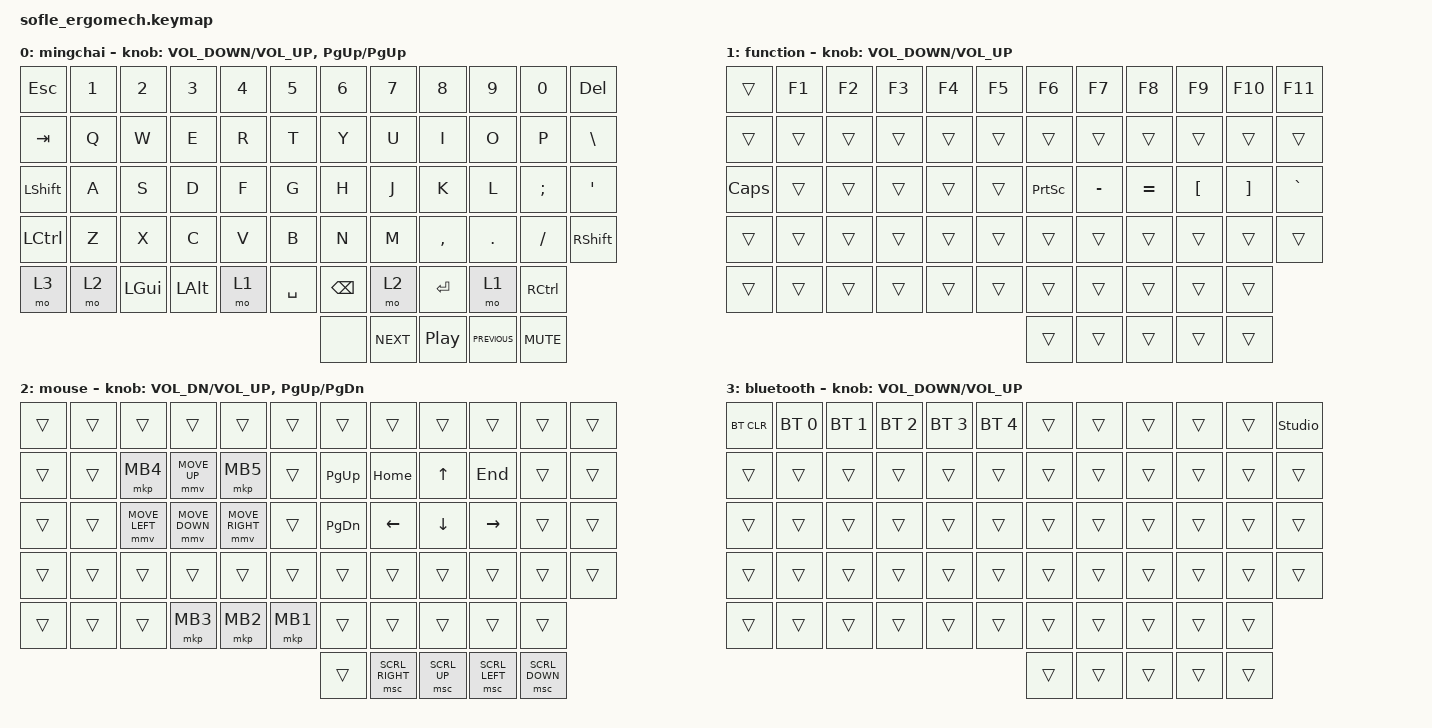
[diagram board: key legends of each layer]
/*
 * Copyright (c) 2020 The ZMK Contributors
 *
 * SPDX-License-Identifier: MIT
 */

#define ZMK_POINTING_DEFAULT_MOVE_VAL 2500  // default: 600
#define ZMK_POINTING_DEFAULT_SCRL_VAL 20    // default: 10

#include <behaviors.dtsi>
#include <dt-bindings/zmk/bt.h>
#include <dt-bindings/zmk/keys.h>
#include <dt-bindings/zmk/pointing.h>

#define BASE 0
#define LOWER 1
#define RAISE 2
#define ADJUST 3

/ {
    // Activate ADJUST layer by pressing raise and lower

    conditional_layers { compatible = "zmk,conditional-layers"; };

    keymap {
        compatible = "zmk,keymap";

        mingchai {
            // ------------------------------------------------------------------------------------------------------------
            // |   `   |  1  |  2  |  3   |  4   |  5   |                   |  6   |  7    |  8    |  9   |   0   |       |
            // |  ESC  |  Q  |  W  |  E   |  R   |  T   |                   |  Y   |  U    |  I    |  O   |   P   | BKSPC |
            // |  TAB  |  A  |  S  |  D   |  F   |  G   |                   |  H   |  J    |  K    |  L   |   ;   |   '   |
            // | SHIFT |  Z  |  X  |  C   |  V   |  B   |  MUTE  |  |       |  N   |  M    |  ,    |  .   |   /   | SHIFT |
            //               | GUI | ALT  | CTRL | LOWER|  ENTER |  | SPACE | RAISE| CTRL  | ALT   | GUI  |

            bindings = <
&kp ESCAPE        &kp N1  &kp N2        &kp N3        &kp N4  &kp N5     &kp N6         &kp N7      &kp N8            &kp N9          &kp N0         &kp DEL
&kp TAB           &kp Q   &kp W         &kp E         &kp R   &kp T      &kp Y          &kp U       &kp I             &kp O           &kp P          &kp BACKSLASH
&kp LEFT_SHIFT    &kp A   &kp S         &kp D         &kp F   &kp G      &kp H          &kp J       &kp K             &kp L           &kp SEMICOLON  &kp SINGLE_QUOTE
&kp LEFT_CONTROL  &kp Z   &kp X         &kp C         &kp V   &kp B      &kp N          &kp M       &kp COMMA         &kp PERIOD      &kp SLASH      &kp RSHFT
&mo 3             &mo 2   &kp LEFT_GUI  &kp LEFT_ALT  &mo 1   &kp SPACE  &kp BACKSPACE  &mo 2       &kp RETURN        &mo 1           &kp RCTRL
                                                                         &none          &kp C_NEXT  &kp C_PLAY_PAUSE  &kp C_PREVIOUS  &kp C_MUTE
            >;

            sensor-bindings =
                <&inc_dec_kp C_VOLUME_DOWN C_VOLUME_UP>,
                <&inc_dec_kp PG_UP PG_UP>;

            label = "mingchai";
        };

        function {
            bindings = <
&trans    &kp F1  &kp F2  &kp F3  &kp F4  &kp F5  &kp F6           &kp F7     &kp F8     &kp F9    &kp F10   &kp F11
&trans    &trans  &trans  &trans  &trans  &trans  &trans           &trans     &trans     &trans    &trans    &trans
&kp CAPS  &trans  &trans  &trans  &trans  &trans  &kp PRINTSCREEN  &kp MINUS  &kp EQUAL  &kp LBKT  &kp RBKT  &kp GRAVE
&trans    &trans  &trans  &trans  &trans  &trans  &trans           &trans     &trans     &trans    &trans    &trans
&trans    &trans  &trans  &trans  &trans  &trans  &trans           &trans     &trans     &trans    &trans
                                                  &trans           &trans     &trans     &trans    &trans
            >;

            sensor-bindings = <&inc_dec_kp C_VOLUME_DOWN C_VOLUME_UP>;
            label = "function";
        };

        mouse {
            // ------------------------------------------------------------------------------------------------------------
            // | BTCLR | BT1  | BT2  |  BT3  |  BT4  |  BT5 |                |      |      |       |      |       |       |
            // |       | INS  | PSCR | GUI   |       |      |                | PGUP |      |   ^   |      |       |       |
            // |       | ALT  | CTRL | SHIFT |       | CAPS |                | PGDN |   <- |   v   |  ->  |  DEL  | BKSPC |
            // |       | UNDO | CUT  | COPY  | PASTE |      |      |  |      |      |      |       |      |       |       |
            //                |      |       |       |      |      |  |      |      |      |       |      |

            bindings = <
&trans  &trans  &trans          &trans          &trans           &trans    &trans         &trans           &trans          &trans           &trans          &trans
&trans  &trans  &mkp MB4        &mmv MOVE_UP    &mkp MB5         &trans    &kp PAGE_UP    &kp HOME         &kp UP_ARROW    &kp END          &trans          &trans
&trans  &trans  &mmv MOVE_LEFT  &mmv MOVE_DOWN  &mmv MOVE_RIGHT  &trans    &kp PAGE_DOWN  &kp LEFT_ARROW   &kp DOWN_ARROW  &kp RIGHT_ARROW  &trans          &trans
&trans  &trans  &trans          &trans          &trans           &trans    &trans         &trans           &trans          &trans           &trans          &trans
&trans  &trans  &trans          &mkp MB3        &mkp MB2         &mkp MB1  &trans         &trans           &trans          &trans           &trans
                                                                           &trans         &msc SCRL_RIGHT  &msc SCRL_UP    &msc SCRL_LEFT   &msc SCRL_DOWN
            >;

            sensor-bindings =
                <&inc_dec_kp C_VOL_DN C_VOL_UP>,
                <&inc_dec_kp PG_UP PG_DN>;

            label = "mouse";
        };

        bluetooth {
            bindings = <
&bt BT_CLR  &bt BT_SEL 0  &bt BT_SEL 1  &bt BT_SEL 2  &bt BT_SEL 3  &bt BT_SEL 4  &trans  &trans  &trans  &trans  &trans  &studio_unlock
&trans      &trans        &trans        &trans        &trans        &trans        &trans  &trans  &trans  &trans  &trans  &trans
&trans      &trans        &trans        &trans        &trans        &trans        &trans  &trans  &trans  &trans  &trans  &trans
&trans      &trans        &trans        &trans        &trans        &trans        &trans  &trans  &trans  &trans  &trans  &trans
&trans      &trans        &trans        &trans        &trans        &trans        &trans  &trans  &trans  &trans  &trans
                                                                                  &trans  &trans  &trans  &trans  &trans
            >;

            label = "bluetooth";
            sensor-bindings = <&inc_dec_kp C_VOLUME_DOWN C_VOLUME_UP>;
        };
    };
};
